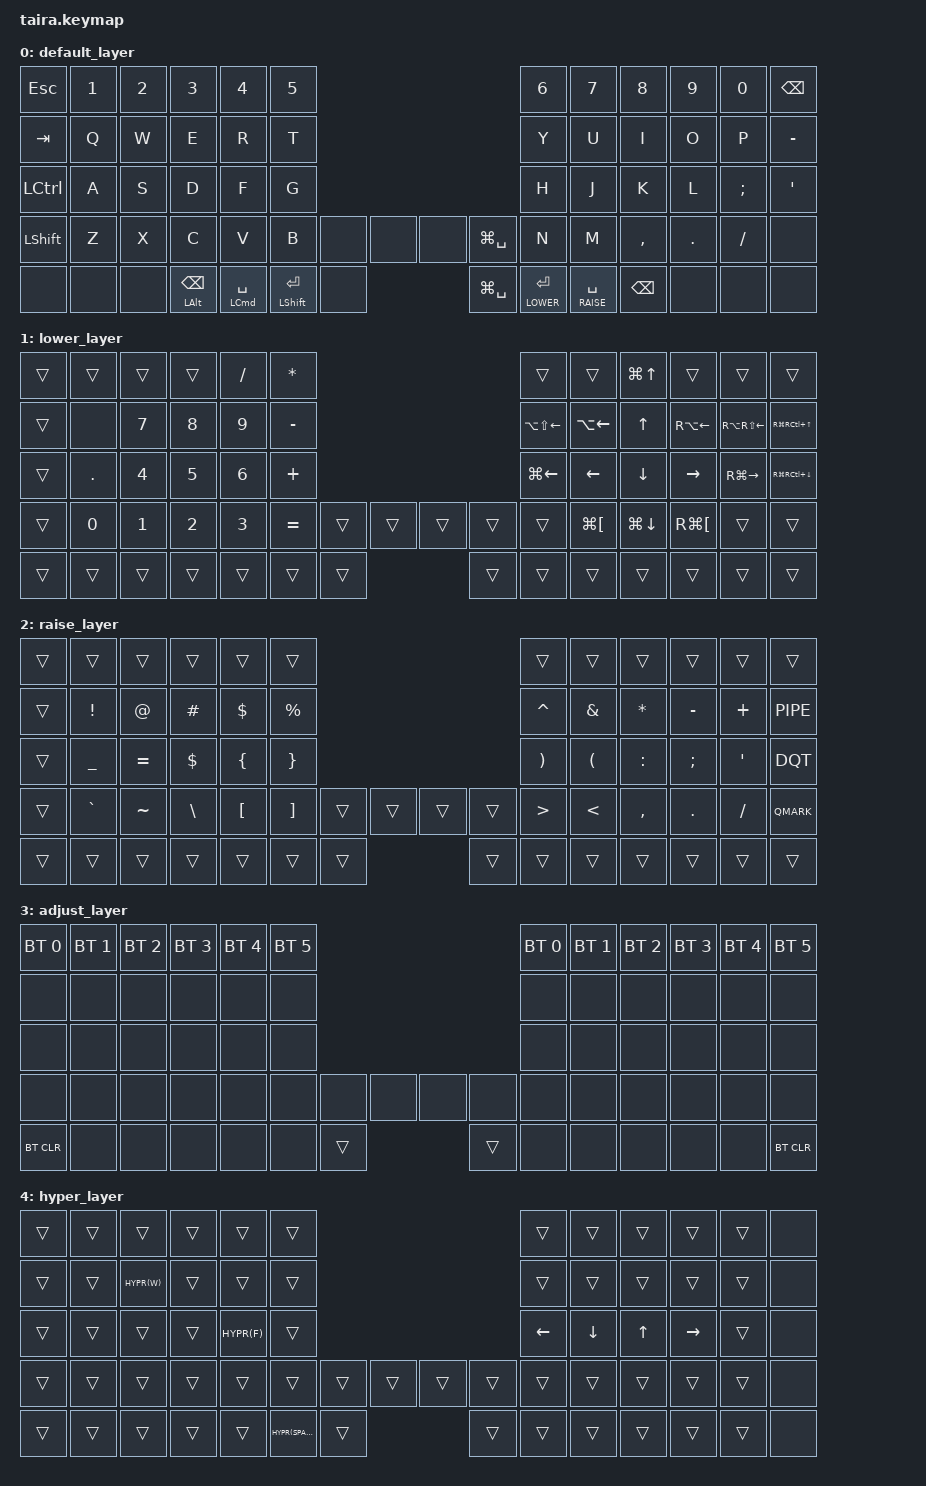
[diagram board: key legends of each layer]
/*
 * Copyright (c) 2020 The ZMK Contributors
 *
 * SPDX-License-Identifier: MIT
 */

#include <behaviors.dtsi>
#include <dt-bindings/zmk/keys.h>
#include <dt-bindings/zmk/outputs.h>
#include <dt-bindings/zmk/bt.h>

#define DEFAULT 0
#define LOWER   1
#define RAISE   2
#define ADJUST  3
#define HYPER   4

#define HYPR(KC) LC(LS(LA(LG(KC))))

/ {

        conditional_layers {
                compatible = "zmk,conditional-layers";

                tri_layer {
                        if-layers  = <1 2>;
                        then-layer = <3>;
                };
        };

        keymap {
                compatible = "zmk,keymap";

                default_layer {
/* QWERTY
 * .----------------------------------------------------------------------------------------------------------------------------------.
 * |  `   |   1  |   2  |   3  |   4  |   5  |                                              |   6  |   7  |   8  |   9  |   0  | PScr |
 * |-------------+------+------+------+------+------+------+-------+-+-------+-------+------+------+------+------+------+------+------|
 * | ESC  |   Q  |   W  |   E  |   R  |   T  |                                              |   Y  |   U  |   I  |   O  |   P  |  \   |
 * |-------------+------+------+------+------+------+------+-------+-+-------+-------+------+------+------+------+------+------+------|
 * | Tab  |   A  |   S  |   D  |   F  |   G  |                                              |   H  |   J  |   K  |   L  |   ;  |  '   |
 * |-------------+------+------+------+------+------+------+-------+-+-------+-------+------+------+------+------+------+------+------|
 * | Shift|   Z  |   X  |   C  |   V  |   B  |      | Del  | PGDN  | | PGUP  | Home  |      |   N  |   M  |   ,  |   .  |   /  | Shift|
 * |-------------+------+------+------+------+------+------+-------+-+-------+-------+------+------+------+------+------+------+------|
 * | Ctrl | Alt  | Meta | Alt  |             | Meta | SPACE| Lower | | Raise | Enter | RAlt |             | LEFT | DOWN | UP   | RIGHT|
 * .----------------------------------------------------------------------------------------------------------------------------------.
 */
                        bindings = <
&kp ESC    &kp N1  &kp N2  &kp N3  &kp N4  &kp N5                                                                                             &kp N6  &kp N7  &kp N8     &kp N9   &kp N0     &kp BSPC
&kp TAB    &kp Q   &kp W   &kp E   &kp R   &kp T                                                                                              &kp Y   &kp U   &kp I      &kp O    &kp P      &kp MINUS
&kp LCTRL  &kp A   &kp S   &kp D   &kp F   &kp G                                                                                              &kp H   &kp J   &kp K      &kp L    &kp SEMI   &kp SQT
&kp LSHFT  &kp Z   &kp X   &kp C   &kp V   &kp B                   &none            &none    &none          &kp LG(SPACE)                     &kp N   &kp M   &kp COMMA  &kp DOT  &kp SLASH  &none
&none      &none   &none   &mt LALT BSPC           &mt LCMD SPACE  &mt LSHFT ENTER  &none    &kp LG(SPACE)  &lt LOWER ENTER  &lt RAISE SPACE                  &kp BSPC   &none    &none      &none
                        >;
                };

                lower_layer {
/* QWERTY
 * .----------------------------------------------------------------------------------------------------------------------------------.
 * |  `   |   1  |   2  |   3  |   4  |   5  |                                              |   6  |   7  |   8  |   9  |   0  | PScr |
 * |-------------+------+------+------+------+------+------+-------+-+-------+-------+------+------+------+------+------+------+------|
 * | ESC  |   Q  |   W  |   E  |   R  |   T  |                                              |   Y  |   U  |   I  |   O  |   P  |  \   |
 * |-------------+------+------+------+------+------+------+-------+-+-------+-------+------+------+------+------+------+------+------|
 * | Tab  |   A  |   S  |   D  |   F  |   G  |                                              |   H  |   J  |   K  |   L  |   ;  |  '   |
 * |-------------+------+------+------+------+------+------+-------+-+-------+-------+------+------+------+------+------+------+------|
 * | Shift|   Z  |   X  |   C  |   V  |   B  |      | Del  | PGDN  | | PGUP  | Home  |      |   N  |   M  |   ,  |   .  |   /  | Shift|
 * |-------------+------+------+------+------+------+------+-------+-+-------+-------+------+------+------+------+------+------+------|
 * | Ctrl | Alt  | Meta | Alt  |             | Meta | SPACE| Lower | | Raise | Enter | RAlt |             | LEFT | DOWN | UP   | RIGHT|
 * .----------------------------------------------------------------------------------------------------------------------------------.
 */
                        bindings = <
&trans  &trans   &trans  &trans  &kp FSLH  &kp ASTRK                                                    &trans            &trans        &kp LG(UP)    &trans        &trans            &trans
&trans  &none    &kp N7  &kp N8  &kp N9    &kp MINUS                                                    &kp LA(LS(LEFT))  &kp LA(LEFT)  &kp UP        &kp RA(LEFT)  &kp RA(RS(LEFT))  &kp RG(RC(UP))
&trans  &kp DOT  &kp N4  &kp N5  &kp N6    &kp PLUS                                                     &kp LG(LEFT)      &kp LEFT      &kp DOWN      &kp RIGHT     &kp RG(RIGHT)     &kp RG(RC(DOWN))
&trans  &kp N0   &kp N1  &kp N2  &kp N3    &kp EQUAL          &trans  &trans    &trans  &trans          &trans            &kp LG(LBKT)  &kp LG(DOWN)  &kp RG(LBKT)  &trans            &trans
&trans  &trans   &trans  &trans                       &trans  &trans  &trans    &trans  &trans  &trans                                  &trans        &trans        &trans            &trans
                        >;
                };

                raise_layer {
/* QWERTY
 * .----------------------------------------------------------------------------------------------------------------------------------.
 * |  `   |   1  |   2  |   3  |   4  |   5  |                                              |   6  |   7  |   8  |   9  |   0  | PScr |
 * |-------------+------+------+------+------+------+------+-------+-+-------+-------+------+------+------+------+------+------+------|
 * | ESC  |   Q  |   W  |   E  |   R  |   T  |                                              |   Y  |   U  |   I  |   O  |   P  |  \   |
 * |-------------+------+------+------+------+------+------+-------+-+-------+-------+------+------+------+------+------+------+------|
 * | Tab  |   A  |   S  |   D  |   F  |   G  |                                              |   H  |   J  |   K  |   L  |   ;  |  '   |
 * |-------------+------+------+------+------+------+------+-------+-+-------+-------+------+------+------+------+------+------+------|
 * | Shift|   Z  |   X  |   C  |   V  |   B  |      | Del  | PGDN  | | PGUP  | Home  |      |   N  |   M  |   ,  |   .  |   /  | Shift|
 * |-------------+------+------+------+------+------+------+-------+-+-------+-------+------+------+------+------+------+------+------|
 * | Ctrl | Alt  | Meta | Alt  |             | Meta | SPACE| Lower | | Raise | Enter | RAlt |             | LEFT | DOWN | UP   | RIGHT|
 * .----------------------------------------------------------------------------------------------------------------------------------.
 */
                        bindings = <
&trans  &trans       &trans       &trans     &trans     &trans                                                                       &trans     &trans     &trans      &trans     &trans       &trans
&trans  &kp EXCL     &kp AT       &kp POUND  &kp DLLR   &kp PRCNT                                                                     &kp CARET  &kp AMPS   &kp ASTRK   &kp MINUS  &kp PLUS     &PIPE
&trans  &kp UNDER    &kp EQUAL    &kp DLLR   &kp LBRC   &kp RBRC                                                                      &kp RPAR   &kp LPAR   &kp COLON   &kp SEMI   &kp SQT      &DQT
&trans  &kp GRAVE    &kp TILDE    &kp BSLH   &kp LBKT   &kp RBKT             &trans      &trans        &trans      &trans             &kp GT     &kp LT     &kp COMMA   &kp DOT    &kp SLASH    &QMARK
&trans  &trans       &trans       &trans                           &trans    &trans      &trans        &trans      &trans    &trans                         &trans      &trans     &trans       &trans
                        >;
                };

                adjust_layer {
/* QWERTY
 * .----------------------------------------------------------------------------------------------------------------------------------.
 * |  `   |   1  |   2  |   3  |   4  |   5  |                                              |   6  |   7  |   8  |   9  |   0  | PScr |
 * |-------------+------+------+------+------+------+------+-------+-+-------+-------+------+------+------+------+------+------+------|
 * | ESC  |   Q  |   W  |   E  |   R  |   T  |                                              |   Y  |   U  |   I  |   O  |   P  |  \   |
 * |-------------+------+------+------+------+------+------+-------+-+-------+-------+------+------+------+------+------+------+------|
 * | Tab  |   A  |   S  |   D  |   F  |   G  |                                              |   H  |   J  |   K  |   L  |   ;  |  '   |
 * |-------------+------+------+------+------+------+------+-------+-+-------+-------+------+------+------+------+------+------+------|
 * | Shift|   Z  |   X  |   C  |   V  |   B  |      | Del  | PGDN  | | PGUP  | Home  |      |   N  |   M  |   ,  |   .  |   /  | Shift|
 * |-------------+------+------+------+------+------+------+-------+-+-------+-------+------+------+------+------+------+------+------|
 * | Ctrl | Alt  | Meta | Alt  |             | Meta | SPACE| Lower | | Raise | Enter | RAlt |             | LEFT | DOWN | UP   | RIGHT|
 * .----------------------------------------------------------------------------------------------------------------------------------.
 */
                        bindings = <
&bt BT_SEL 0 &bt BT_SEL 1 &bt BT_SEL 2 &bt BT_SEL 3 &bt BT_SEL 4 &bt BT_SEL 5                                                                          &bt BT_SEL 0 &bt BT_SEL 1 &bt BT_SEL 2 &bt BT_SEL 3 &bt BT_SEL 4 &bt BT_SEL 5
&none        &none        &none        &none        &none        &none                                                                                 &none        &none        &none        &none        &none        &none
&none        &none        &none        &none        &none        &none                                                                                 &none        &none        &none        &none        &none        &none
&none        &none        &none        &none        &none        &none                     &none       &none         &none       &none                 &none        &none        &none        &none        &none        &none
&bt BT_CLR   &none        &none        &none                                     &none     &none       &trans        &trans      &none     &none                                 &none        &none        &none        &bt BT_CLR
                        >;
                };

                hyper_layer {
/* QWERTY
 * .----------------------------------------------------------------------------------------------------------------------------------.
 * |  `   |   1  |   2  |   3  |   4  |   5  |                                              |   6  |   7  |   8  |   9  |   0  | PScr |
 * |-------------+------+------+------+------+------+------+-------+-+-------+-------+------+------+------+------+------+------+------|
 * | ESC  |   Q  |   W  |   E  |   R  |   T  |                                              |   Y  |   U  |   I  |   O  |   P  |  \   |
 * |-------------+------+------+------+------+------+------+-------+-+-------+-------+------+------+------+------+------+------+------|
 * | Tab  |   A  |   S  |   D  |   F  |   G  |                                              |   H  |   J  |   K  |   L  |   ;  |  '   |
 * |-------------+------+------+------+------+------+------+-------+-+-------+-------+------+------+------+------+------+------+------|
 * | Shift|   Z  |   X  |   C  |   V  |   B  |      | Del  | PGDN  | | PGUP  | Home  |      |   N  |   M  |   ,  |   .  |   /  | Shift|
 * |-------------+------+------+------+------+------+------+-------+-+-------+-------+------+------+------+------+------+------+------|
 * | Ctrl | Alt  | Meta | Alt  |             | Meta | SPACE| Lower | | Raise | Enter | RAlt |             | LEFT | DOWN | UP   | RIGHT|
 * .----------------------------------------------------------------------------------------------------------------------------------.
 */
                        bindings = <
&trans        &trans     &trans      &trans      &trans      &trans                                                                         &trans   &trans     &trans      &trans     &trans        &none
&trans        &trans     &kp HYPR(W) &trans      &trans      &trans                                                                         &trans   &trans     &trans      &trans     &trans        &none
&trans        &trans     &trans      &trans      &kp HYPR(F) &trans                                                                         &kp LEFT &kp DOWN   &kp UP      &kp RIGHT  &trans        &none
&trans        &trans     &trans      &trans      &trans      &trans             &trans      &trans        &trans      &trans                &trans   &trans     &trans      &trans     &trans        &none
&trans        &trans     &trans      &trans                           &trans    &kp HYPR(SPACE)       &trans        &trans      &trans    &trans                          &trans      &trans     &trans        &none
                        >;
                };
        };
};
